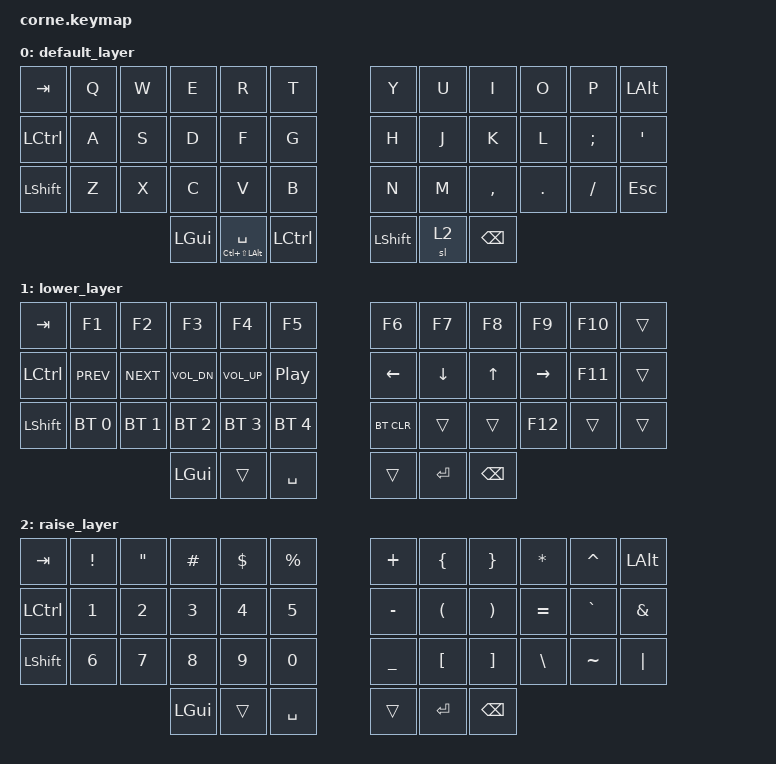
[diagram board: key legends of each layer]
/*
 * Copyright (c) 2020 The ZMK Contributors
 *
 * SPDX-License-Identifier: MIT
 */

#include <behaviors.dtsi>
#include <dt-bindings/zmk/bt.h>
#include <dt-bindings/zmk/keys.h>

/ {
    keymap {
        compatible = "zmk,keymap";

        default_layer {
            // -----------------------------------------------------------------------------------------
            // |  TAB |  Q  |  W  |  E  |  R  |  T  |   |  Y  |  U   |  I  |  O  |  P  | BSPC |
            // | CTRL |  A  |  S  |  D  |  F  |  G  |   |  H  |  J   |  K  |  L  |  ;  |  '   |
            // | SHFT |  Z  |  X  |  C  |  V  |  B  |   |  N  |  M   |  ,  |  .  |  /  | ESC  |
            //                    | GUI | LWR | SPC |   | ENT | RSE  | ALT |

            bindings = <
&kp TAB    &kp Q  &kp W  &kp E     &kp R                       &kp T               &kp Y           &kp U  &kp I          &kp O    &kp P     &kp LEFT_ALT
&kp LCTRL  &kp A  &kp S  &kp D     &kp F                       &kp G               &kp H           &kp J  &kp K          &kp L    &kp SEMI  &kp SQT
&kp LSHFT  &kp Z  &kp X  &kp C     &kp V                       &kp B               &kp N           &kp M  &kp COMMA      &kp DOT  &kp FSLH  &kp ESC
                         &kp LGUI  &mt LC(LS(LEFT_ALT)) SPACE  &kp LEFT_CONTROL    &kp LEFT_SHIFT  &sl 2  &kp BACKSPACE
            >;
        };

        lower_layer {
            // -----------------------------------------------------------------------------------------
            // |  TAB |  1  |  2  |  3  |  4  |  5  |   |  6  |  7  |  8  |  9  |  0  | BSPC |
            // | BTCLR| BT1 | BT2 | BT3 | BT4 | BT5 |   | LFT | DWN |  UP | RGT |     |      |
            // | SHFT |     |     |     |     |     |   |     |     |     |     |     |      |
            //                    | GUI |     | SPC |   | ENT |     | ALT |

            bindings = <
&kp TAB         &kp F1        &kp F2        &kp F3        &kp F4        &kp F5              &kp F6      &kp F7     &kp F8         &kp F9     &kp F10  &trans
&kp LCTRL       &kp C_PREV    &kp C_NEXT    &kp C_VOL_DN  &kp C_VOL_UP  &kp C_PLAY_PAUSE    &kp LEFT    &kp DOWN   &kp UP         &kp RIGHT  &kp F11  &trans
&kp LEFT_SHIFT  &bt BT_SEL 0  &bt BT_SEL 1  &bt BT_SEL 2  &bt BT_SEL 3  &bt BT_SEL 4        &bt BT_CLR  &trans     &trans         &kp F12    &trans   &trans
                                            &kp LGUI      &trans        &kp SPACE           &trans      &kp ENTER  &kp BACKSPACE
            >;
        };

        raise_layer {
            // -----------------------------------------------------------------------------------------
            // |  TAB |  !  |  @  |  #  |  $  |  %  |   |  ^  |  &  |  *  |  (  |  )  | BSPC |
            // | CTRL |     |     |     |     |     |   |  -  |  =  |  [  |  ]  |  \  |  `   |
            // | SHFT |     |     |     |     |     |   |  _  |  +  |  {  |  }  | "|" |  ~   |
            //                    | GUI |     | SPC |   | ENT |     | ALT |

            bindings = <
&kp TAB    &kp EXCL  &kp DOUBLE_QUOTES  &kp HASH  &kp DOLLAR  &kp PRCNT    &kp PLUS   &kp LEFT_BRACE        &kp RIGHT_BRACE        &kp ASTERISK   &kp CARET  &kp LEFT_ALT
&kp LCTRL  &kp N1    &kp N2             &kp N3    &kp N4      &kp N5       &kp MINUS  &kp LEFT_PARENTHESIS  &kp RIGHT_PARENTHESIS  &kp EQUAL      &kp GRAVE  &kp AMPERSAND
&kp LSHFT  &kp N6    &kp N7             &kp N8    &kp N9      &kp N0       &kp UNDER  &kp LEFT_BRACKET      &kp RIGHT_BRACKET      &kp BACKSLASH  &kp TILDE  &kp PIPE
                                        &kp LGUI  &trans      &kp SPACE    &trans     &kp ENTER             &kp BACKSPACE
            >;
        };
    };
};
